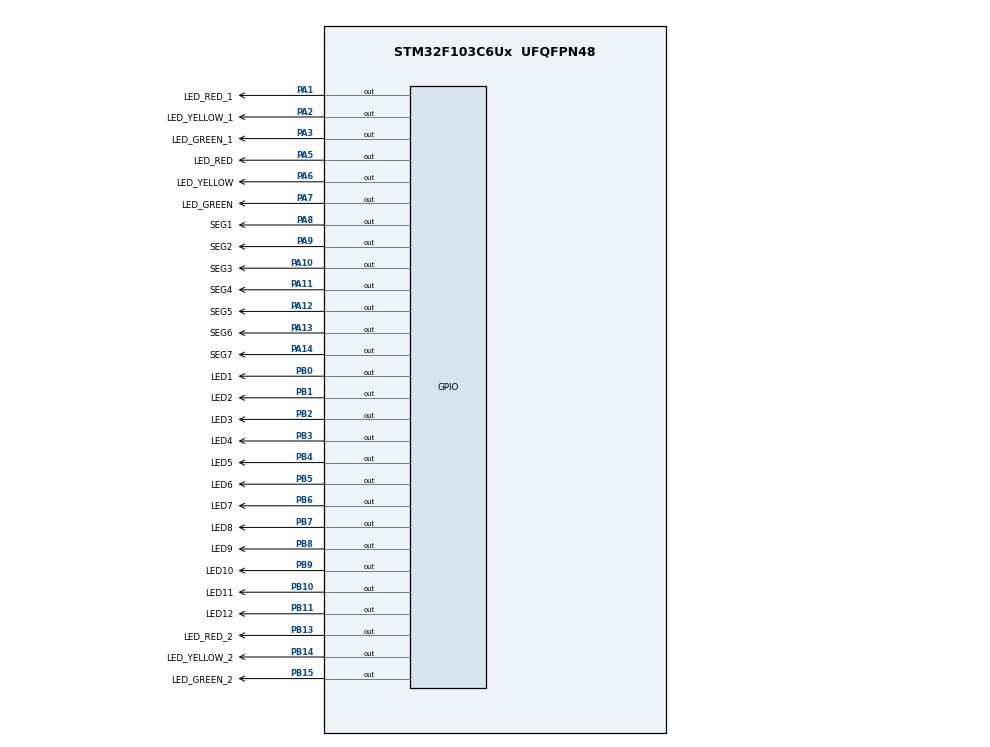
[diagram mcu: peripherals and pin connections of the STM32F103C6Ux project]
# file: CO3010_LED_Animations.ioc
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Mcu.Family=STM32F1
Mcu.Name=STM32F103C6Ux
Mcu.Package=UFQFPN48
NVIC.PriorityGroup=NVIC_PRIORITYGROUP_4
PA1.GPIO_Label=LED_RED_1
PA1.Signal=GPIO_Output
PA10.GPIO_Label=SEG3
PA10.Signal=GPIO_Output
PA11.GPIO_Label=SEG4
PA11.Signal=GPIO_Output
PA12.GPIO_Label=SEG5
PA12.Signal=GPIO_Output
PA13.GPIO_Label=SEG6
PA13.Signal=GPIO_Output
PA14.GPIO_Label=SEG7
PA14.Signal=GPIO_Output
PA2.GPIO_Label=LED_YELLOW_1
PA2.Signal=GPIO_Output
PA3.GPIO_Label=LED_GREEN_1
PA3.Signal=GPIO_Output
PA5.GPIO_Label=LED_RED
PA5.Signal=GPIO_Output
PA6.GPIO_Label=LED_YELLOW
PA6.Signal=GPIO_Output
PA7.GPIO_Label=LED_GREEN
PA7.Signal=GPIO_Output
PA8.GPIO_Label=SEG1
PA8.Signal=GPIO_Output
PA9.GPIO_Label=SEG2
PA9.Signal=GPIO_Output
PB0.GPIO_Label=LED1
PB0.Signal=GPIO_Output
PB1.GPIO_Label=LED2
PB1.Signal=GPIO_Output
PB10.GPIO_Label=LED11
PB10.Signal=GPIO_Output
PB11.GPIO_Label=LED12
PB11.Signal=GPIO_Output
PB13.GPIO_Label=LED_RED_2
PB13.Signal=GPIO_Output
PB14.GPIO_Label=LED_YELLOW_2
PB14.Signal=GPIO_Output
PB15.GPIO_Label=LED_GREEN_2
PB15.Signal=GPIO_Output
PB2.GPIO_Label=LED3
PB2.Signal=GPIO_Output
PB3.GPIO_Label=LED4
PB3.Signal=GPIO_Output
PB4.GPIO_Label=LED5
PB4.Signal=GPIO_Output
PB5.GPIO_Label=LED6
PB5.Signal=GPIO_Output
PB6.GPIO_Label=LED7
PB6.Signal=GPIO_Output
PB7.GPIO_Label=LED8
PB7.Signal=GPIO_Output
PB8.GPIO_Label=LED9
PB8.Signal=GPIO_Output
PB9.GPIO_Label=LED10
PB9.Signal=GPIO_Output
ProjectManager.HeapSize=0x200
ProjectManager.StackSize=0x400
ProjectManager.TargetToolchain=STM32CubeIDE
RCC.APB1Freq_Value=8000000
RCC.APB2Freq_Value=8000000
VP_SYS_VS_ND.Mode=No_Debug
board=custom

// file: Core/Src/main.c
/* USER CODE BEGIN Header */
/**
  ******************************************************************************
  * @file           : main.c
  * @brief          : Main program body
  ******************************************************************************
  * @attention
  *
  * Copyright (c) 2025 STMicroelectronics.
  * All rights reserved.
  *
  * This software is licensed under terms that can be found in the LICENSE file
  * in the root directory of this software component.
  * If no LICENSE file comes with this software, it is provided AS-IS.
  *
  ******************************************************************************
  */
/* USER CODE END Header */
#include "main.h"

/* USER CODE BEGIN Includes */
#include "exercise1.h"
/* USER CODE END Includes */

/* USER CODE BEGIN PD */
#define RUN_EXERCISE 10
/* USER CODE END PD */

void SystemClock_Config(void);
static void MX_GPIO_Init(void);

int main(void)
{

  /* MCU Configuration--------------------------------------------------------*/

  /* Reset of all peripherals, Initializes the Flash interface and the Systick. */
  HAL_Init();

  /* Configure the system clock */
  SystemClock_Config();

  /* Initialize all configured peripherals */
  MX_GPIO_Init();

  /* Infinite loop */
  /* USER CODE BEGIN WHILE */
  while (1)
  {
	  if (RUN_EXERCISE == 1) {
		  exercise1_run();
	  }
	  else if (RUN_EXERCISE == 2) {
		  exercise2_run();
	  }
	  else if (RUN_EXERCISE == 3) {
		  exercise3_run();
	  }
	  else if (RUN_EXERCISE == 4) {
		  exercise4_run();
	  }
	  else if (RUN_EXERCISE == 5) {
		  exercise5_run();
	  }
	  else if (RUN_EXERCISE == 6) {
		  exercise6_run();
	  }
	  else if (RUN_EXERCISE == 7) {
		  exercise7_run();
	  }
	  else if (RUN_EXERCISE == 8) {
		  exercise8_run();
	  }
	  else if (RUN_EXERCISE == 9) {
		  exercise9_run();
	  }
	  else if (RUN_EXERCISE == 10) {
		  exercise10_run();
	  }

	  HAL_Delay(1000);
    /* USER CODE END WHILE */

  }
}

void SystemClock_Config(void)
{
  RCC_OscInitTypeDef RCC_OscInitStruct = {0};
  RCC_ClkInitTypeDef RCC_ClkInitStruct = {0};

  /** Initializes the RCC Oscillators according to the specified parameters
  * in the RCC_OscInitTypeDef structure.
  */
  RCC_OscInitStruct.OscillatorType = RCC_OSCILLATORTYPE_HSI;
  RCC_OscInitStruct.HSIState = RCC_HSI_ON;
  RCC_OscInitStruct.HSICalibrationValue = RCC_HSICALIBRATION_DEFAULT;
  RCC_OscInitStruct.PLL.PLLState = RCC_PLL_NONE;
  if (HAL_RCC_OscConfig(&RCC_OscInitStruct) != HAL_OK)
  {
    Error_Handler();
  }

  /** Initializes the CPU, AHB and APB buses clocks
  */
  RCC_ClkInitStruct.ClockType = RCC_CLOCKTYPE_HCLK|RCC_CLOCKTYPE_SYSCLK
                              |RCC_CLOCKTYPE_PCLK1|RCC_CLOCKTYPE_PCLK2;
  RCC_ClkInitStruct.SYSCLKSource = RCC_SYSCLKSOURCE_HSI;
  RCC_ClkInitStruct.AHBCLKDivider = RCC_SYSCLK_DIV1;
  RCC_ClkInitStruct.APB1CLKDivider = RCC_HCLK_DIV1;
  RCC_ClkInitStruct.APB2CLKDivider = RCC_HCLK_DIV1;

  if (HAL_RCC_ClockConfig(&RCC_ClkInitStruct, FLASH_LATENCY_0) != HAL_OK)
  {
    Error_Handler();
  }
}

static void MX_GPIO_Init(void)
{
  GPIO_InitTypeDef GPIO_InitStruct = {0};

  /* GPIO Ports Clock Enable */
  __HAL_RCC_GPIOA_CLK_ENABLE();
  __HAL_RCC_GPIOB_CLK_ENABLE();

  /*Configure GPIO pin Output Level */
  HAL_GPIO_WritePin(GPIOA, LED_RED_1_Pin|LED_YELLOW_1_Pin|LED_GREEN_1_Pin|LED_RED_Pin
                          |LED_YELLOW_Pin|LED_GREEN_Pin|SEG1_Pin|SEG2_Pin
                          |SEG3_Pin|SEG4_Pin|SEG5_Pin|SEG6_Pin
                          |SEG7_Pin, GPIO_PIN_RESET);

  /*Configure GPIO pin Output Level */
  HAL_GPIO_WritePin(GPIOB, LED1_Pin|LED2_Pin|LED3_Pin|LED11_Pin
                          |LED12_Pin|LED_RED_2_Pin|LED_YELLOW_2_Pin|LED_GREEN_2_Pin
                          |LED4_Pin|LED5_Pin|LED6_Pin|LED7_Pin
                          |LED8_Pin|LED9_Pin|LED10_Pin, GPIO_PIN_RESET);

  /*Configure GPIO pins : LED_RED_1_Pin LED_YELLOW_1_Pin LED_GREEN_1_Pin LED_RED_Pin
                           LED_YELLOW_Pin LED_GREEN_Pin SEG1_Pin SEG2_Pin
                           SEG3_Pin SEG4_Pin SEG5_Pin SEG6_Pin
                           SEG7_Pin */
  GPIO_InitStruct.Pin = LED_RED_1_Pin|LED_YELLOW_1_Pin|LED_GREEN_1_Pin|LED_RED_Pin
                          |LED_YELLOW_Pin|LED_GREEN_Pin|SEG1_Pin|SEG2_Pin
                          |SEG3_Pin|SEG4_Pin|SEG5_Pin|SEG6_Pin
                          |SEG7_Pin;
  GPIO_InitStruct.Mode = GPIO_MODE_OUTPUT_PP;
  GPIO_InitStruct.Pull = GPIO_NOPULL;
  GPIO_InitStruct.Speed = GPIO_SPEED_FREQ_LOW;
  HAL_GPIO_Init(GPIOA, &GPIO_InitStruct);

  /*Configure GPIO pins : LED1_Pin LED2_Pin LED3_Pin LED11_Pin
                           LED12_Pin LED_RED_2_Pin LED_YELLOW_2_Pin LED_GREEN_2_Pin
                           LED4_Pin LED5_Pin LED6_Pin LED7_Pin
                           LED8_Pin LED9_Pin LED10_Pin */
  GPIO_InitStruct.Pin = LED1_Pin|LED2_Pin|LED3_Pin|LED11_Pin
                          |LED12_Pin|LED_RED_2_Pin|LED_YELLOW_2_Pin|LED_GREEN_2_Pin
                          |LED4_Pin|LED5_Pin|LED6_Pin|LED7_Pin
                          |LED8_Pin|LED9_Pin|LED10_Pin;
  GPIO_InitStruct.Mode = GPIO_MODE_OUTPUT_PP;
  GPIO_InitStruct.Pull = GPIO_NOPULL;
  GPIO_InitStruct.Speed = GPIO_SPEED_FREQ_LOW;
  HAL_GPIO_Init(GPIOB, &GPIO_InitStruct);

}

void Error_Handler(void)
{
  __disable_irq();
  while (1)
  {
  }
}
